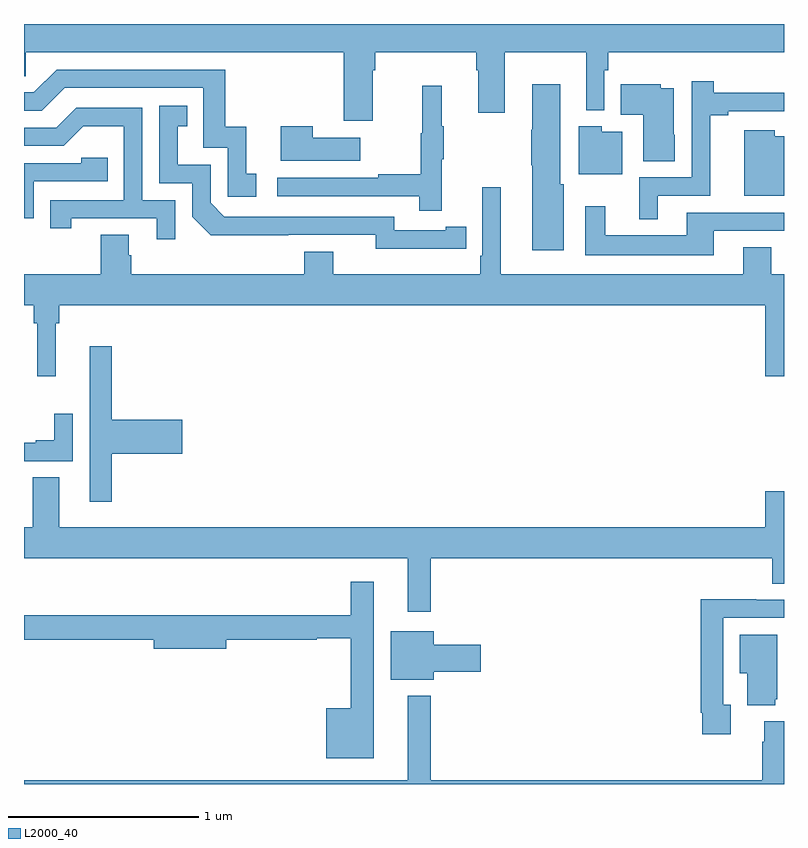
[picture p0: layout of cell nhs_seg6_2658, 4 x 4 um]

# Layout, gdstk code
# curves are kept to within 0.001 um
import gdstk
lib = gdstk.Library(unit=1e-6, precision=1e-09)
def P(c, l, *ps):  # polygons
    for p in ps: c.add(gdstk.Polygon(p, *l))
L2000_40 = (2000, 40)

nhs_seg6_2658 = lib.new_cell('nhs_seg6_2658')
P(nhs_seg6_2658, L2000_40, [(270.835,931.256),(270.848,931.256),(270.848,931.352),(271.379,931.352),(271.379,931.256),(271.391,931.256),(271.391,931.032),(271.531,931.032),(271.531,931.352),(271.958,931.352),(271.958,931.046),(272.055,931.046),(272.055,931.256),(272.075,931.256),(272.075,931.352),(273,931.352),(273,931.5),(269,931.5),(269,931.225),(269.01,931.225),(269.01,931.352),(270.683,931.352),(270.683,930.99),(270.835,930.99)],
  [(270.223,930.711),(270.17,930.711),(270.17,930.958),(270.059,930.958),(270.059,931.26),(269.172,931.26),(269.052,931.14),(269,931.14),(269,931.044),(269.094,931.044),(269.214,931.164),(269.943,931.164),(269.943,930.849),(270.072,930.849),(270.072,930.591),(270.223,930.591)],
  [(272.335,930.597),(272.612,930.597),(272.612,931.021),(272.707,931.021),(272.707,931.041),(273,931.041),(273,931.139),(272.63,931.139),(272.63,931.198),(272.514,931.198),(272.514,930.693),(272.237,930.693),(272.237,930.473),(272.335,930.473)],
  [(272.425,930.918),(272.419,930.918),(272.419,931.162),(272.352,931.162),(272.352,931.183),(272.14,931.183),(272.14,931.022),(272.258,931.022),(272.258,930.778),(272.425,930.778)],
  [(271.84,930.657),(271.822,930.657),(271.822,931.183),(271.676,931.183),(271.676,930.944),(271.669,930.944),(271.669,930.757),(271.676,930.757),(271.676,930.309),(271.84,930.309)],
  [(271.199,930.787),(271.21,930.787),(271.21,930.961),(271.199,930.961),(271.199,931.174),(271.096,931.174),(271.096,930.924),(271.089,930.924),(271.089,930.71),(270.865,930.71),(270.865,930.69),(270.333,930.69),(270.333,930.594),(271.081,930.594),(271.081,930.516),(271.199,930.516)],
  [(271.22,930.318),(271.328,930.318),(271.328,930.434),(271.22,930.434),(271.22,930.414),(270.948,930.414),(270.948,930.486),(270.054,930.486),(269.982,930.558),(269.982,930.759),(269.809,930.759),(269.809,930.963),(269.858,930.963),(269.858,931.069),(269.712,931.069),(269.712,930.663),(269.886,930.663),(269.886,930.486),(269.984,930.389),(270.852,930.39),(270.852,930.317)],
  [(269.796,930.573),(269.622,930.573),(269.622,931.059),(269.276,931.059),(269.171,930.954),(269,930.954),(269,930.858),(269.208,930.858),(269.312,930.962),(269.526,930.962),(269.526,930.573),(269.137,930.573),(269.137,930.426),(269.248,930.426),(269.248,930.477),(269.699,930.477),(269.699,930.366),(269.796,930.366)],
  [(272.149,930.934),(272.04,930.934),(272.04,930.961),(271.919,930.961),(271.919,930.71),(272.149,930.71)],
  [(270.769,930.901),(270.521,930.901),(270.521,930.961),(270.35,930.961),(270.35,930.779),(270.769,930.779)],
  [(273,930.91),(272.95,930.91),(272.95,930.94),(272.792,930.94),(272.792,930.596),(273,930.596)],
  [(269.052,930.672),(269.441,930.672),(269.441,930.795),(269.301,930.795),(269.301,930.768),(269,930.768),(269,930.477),(269.052,930.477)],
  [(269,930.02),(269.05,930.02),(269.05,929.924),(269.07,929.924),(269.07,929.646),(269.168,929.646),(269.168,929.924),(269.186,929.924),(269.186,930.02),(272.9,930.02),(272.9,929.646),(273,929.646),(273,930.184),(272.934,930.184),(272.934,930.326),(272.786,930.326),(272.786,930.184),(271.51,930.184),(271.51,930.64),(271.413,930.64),(271.413,930.28),(271.4,930.28),(271.4,930.184),(270.628,930.184),(270.628,930.301),(270.476,930.301),(270.476,930.184),(269.564,930.184),(269.564,930.282),(269.551,930.282),(269.551,930.392),(269.404,930.392),(269.404,930.184),(269,930.184)],
  [(272.629,930.411),(273,930.411),(273,930.507),(272.489,930.507),(272.489,930.388),(272.059,930.388),(272.059,930.541),(271.955,930.541),(271.955,930.284),(272.629,930.284)],
  [(269.462,929.239),(269.833,929.239),(269.833,929.417),(269.462,929.417),(269.462,929.803),(269.345,929.803),(269.345,929.5),(269.346,929.5),(269.346,928.986),(269.462,928.986)],
  [(269.256,929.449),(269.159,929.449),(269.159,929.308),(269.063,929.308),(269.063,929.295),(269,929.295),(269,929.199),(269.256,929.199)],
  [(271.141,928.688),(272.939,928.688),(272.939,928.555),(273,928.555),(273,929.041),(272.9,929.041),(272.9,928.852),(269.185,928.852),(269.185,929.114),(269.045,929.114),(269.045,928.852),(269,928.852),(269,928.688),(271.019,928.688),(271.019,928.407),(271.141,928.407)],
  [(270.841,928.564),(270.72,928.564),(270.72,928.387),(269,928.387),(269,928.258),(269.684,928.258),(269.684,928.211),(270.064,928.211),(270.064,928.258),(270.541,928.258),(270.541,928.266),(270.72,928.266),(270.72,927.898),(270.59,927.898),(270.59,927.635),(270.841,927.635)],
  [(272.719,927.918),(272.679,927.918),(272.679,928.374),(273,928.374),(273,928.47),(272.855,928.47),(272.855,928.472),(272.563,928.472),(272.563,927.874),(272.571,927.874),(272.571,927.762),(272.719,927.762)],
  [(271.156,928.091),(271.405,928.091),(271.405,928.233),(271.156,928.233),(271.156,928.303),(270.929,928.303),(270.929,928.049),(271.156,928.049)],
  [(272.954,927.945),(272.965,927.945),(272.965,928.285),(272.768,928.285),(272.768,928.082),(272.807,928.082),(272.807,927.914),(272.954,927.914)],
  [(271.141,927.964),(271.019,927.964),(271.019,927.52),(269,927.52),(269,927.5),(273,927.5),(273,927.829),(272.897,927.829),(272.897,927.722),(272.885,927.722),(272.885,927.52),(271.141,927.52)])

lib.write_gds('nhs_seg6_2658.gds')
